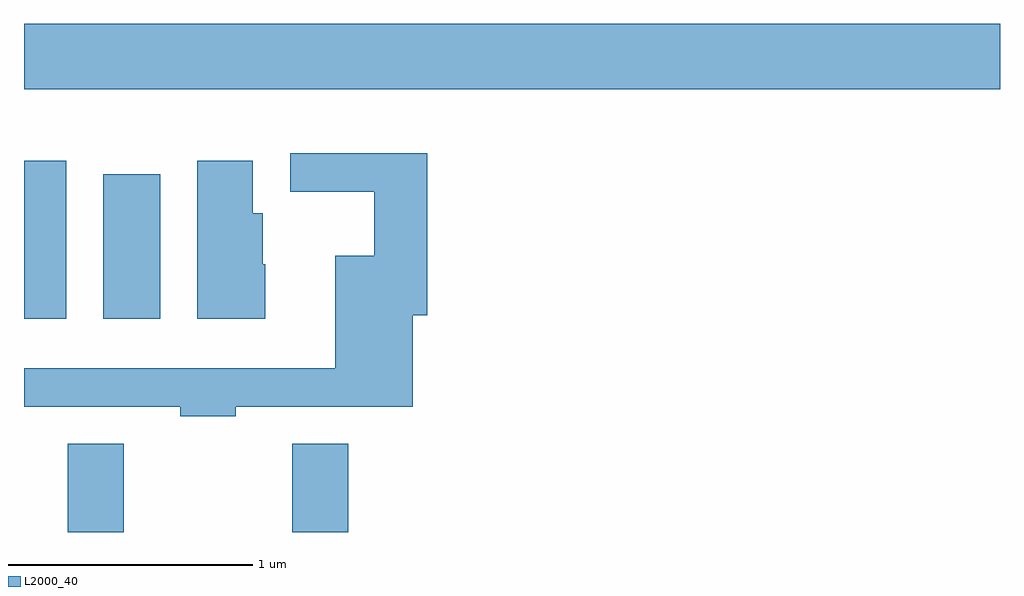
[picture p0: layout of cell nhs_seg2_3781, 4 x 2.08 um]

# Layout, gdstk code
import gdstk
lib = gdstk.Library(unit=1e-6, precision=1e-09)
def R(c, l, rs):  # rectangles x0, y0, x1, y1
    for r in rs: c.add(gdstk.rectangle(r[:2], r[2:], *l))
def P(c, l, *ps):  # polygons
    for p in ps: c.add(gdstk.Polygon(p, *l))
L2000_40 = (2000, 40)

nhs_seg2_3781 = lib.new_cell('nhs_seg2_3781')
R(nhs_seg2_3781, L2000_40, [(295.791,1079.802,296.019,1080.164), (296.711,1079.802,296.939,1080.164), (295.611,1080.676,295.784,1081.324), (295.936,1080.676,296.169,1081.269), (295.611,1081.616,299.611,1081.884)])
P(nhs_seg2_3781, L2000_40, [(296.479,1080.316),(297.204,1080.316),(297.204,1080.691),(297.264,1080.691),(297.264,1081.354),(296.703,1081.354),(296.703,1081.196),(297.046,1081.196),(297.046,1080.934),(296.886,1080.934),(296.886,1080.474),(295.611,1080.474),(295.611,1080.316),(296.251,1080.316),(296.251,1080.276),(296.479,1080.276)],
  [(296.599,1080.9),(296.589,1080.9),(296.589,1081.109),(296.549,1081.109),(296.549,1081.324),(296.321,1081.324),(296.321,1080.676),(296.599,1080.676)])

lib.write_gds('nhs_seg2_3781.gds')
